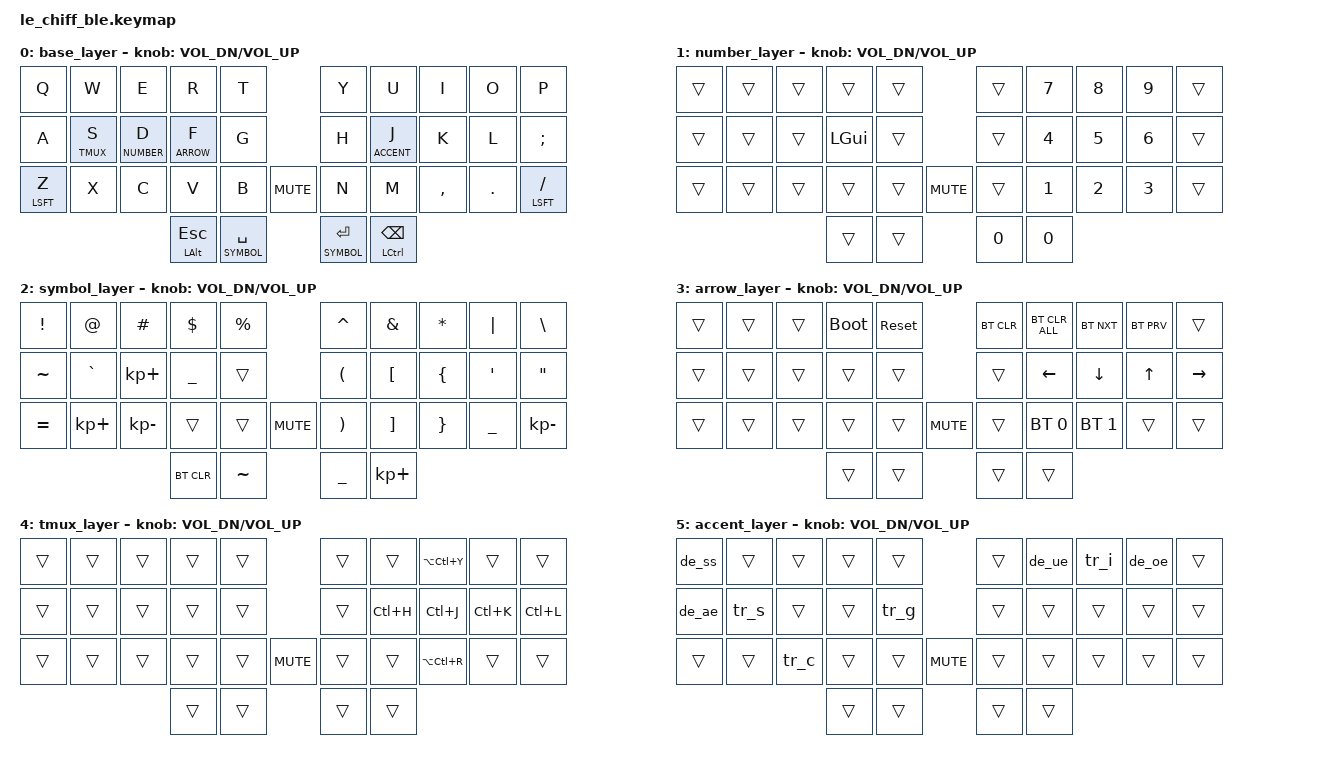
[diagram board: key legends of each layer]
/*
 * Copyright (c) 2021 @MangoIV
 *
 * SPDX-License-Identifier: MIT
 */

#include <behaviors.dtsi>
#include <dt-bindings/zmk/keys.h>
#include <dt-bindings/zmk/bt.h>
#include <dt-bindings/zmk/outputs.h>

&mt {
    quick_tap_ms = <200>;
};

&lt {
    quick_tap_ms = <200>;
};

/ {

    combos {
        compatible = "zmk,combos";
        combo_del {
            timeout-ms = <50>;
            key-positions = <15 16>;
            bindings = <&kp BSPC>;
        };
        combo_tab {
            timeout-ms = <50>;
            key-positions = <16 17>;
            bindings = <&kp TAB>;
        };
        
         combo_alt {
            timeout-ms = <50>;
            key-positions = <25 26>;
            bindings = <&kp LGUI>;
        };
        
    };

    macros {
        // German Characters
        de_ae: de_ae {
            label = "DE_AE";
            compatible = "zmk,behavior-macro";
            #binding-cells = <0>;
            wait-ms = <0>;
            tap-ms = <0>;
            bindings = <&kp RALT &kp U &kp N0 &kp N0 &kp E &kp N4 &kp RET>;  // ä (00E4)
        };
        de_oe: de_oe {
            label = "DE_OE";
            compatible = "zmk,behavior-macro";
            #binding-cells = <0>;
            wait-ms = <0>;
            tap-ms = <0>;
            bindings = <&kp RALT &kp U &kp N0 &kp N0 &kp F &kp N6 &kp RET>;  // ö (00F6)
        };
        de_ue: de_ue {
            label = "DE_UE";
            compatible = "zmk,behavior-macro";
            #binding-cells = <0>;
            wait-ms = <0>;
            tap-ms = <0>;
            bindings = <&kp RALT &kp U &kp N0 &kp N0 &kp F &kp C &kp RET>;  // ü (00FC)
        };
        de_ss: de_ss {
            label = "DE_SS";
            compatible = "zmk,behavior-macro";
            #binding-cells = <0>;
            wait-ms = <0>;
            tap-ms = <0>;
            bindings = <&kp RALT &kp U &kp N0 &kp N0 &kp D &kp F &kp RET>;  // ß (00DF)
        };

        // Turkish Characters
        tr_i: tr_i {
            label = "TR_I";
            compatible = "zmk,behavior-macro";
            #binding-cells = <0>;
            wait-ms = <0>;
            tap-ms = <0>;
            bindings = <&kp RALT &kp U &kp N0 &kp N1 &kp N3 &kp N1 &kp RET>;  // ı (0131)
        };
        tr_g: tr_g {
            label = "TR_G";
            compatible = "zmk,behavior-macro";
            #binding-cells = <0>;
            wait-ms = <0>;
            tap-ms = <0>;
            bindings = <&kp RALT &kp U &kp N0 &kp N1 &kp N1 &kp F &kp RET>;  // ğ (011F)
        };
        tr_s: tr_s {
            label = "TR_S";
            compatible = "zmk,behavior-macro";
            #binding-cells = <0>;
            wait-ms = <0>;
            tap-ms = <0>;
            bindings = <&kp RALT &kp U &kp N0 &kp N1 &kp N5 &kp F &kp RET>;  // ş (015F)
        };
        tr_c: tr_c {
            label = "TR_C";
            compatible = "zmk,behavior-macro";
            #binding-cells = <0>;
            wait-ms = <0>;
            tap-ms = <0>;
            bindings = <&kp RALT &kp U &kp N0 &kp N0 &kp E &kp N7 &kp RET>;  // ç (00E7)
        };
        tr_o: tr_o {
            label = "TR_O";
            compatible = "zmk,behavior-macro";
            #binding-cells = <0>;
            wait-ms = <0>;
            tap-ms = <0>;
            bindings = <&kp RALT &kp U &kp N0 &kp N0 &kp F &kp N6 &kp RET>;  // ö (00F6)
        };
    };

#define BASE 0
#define NUMBER 1
#define SYMBOL 2
#define ARROW 3
#define TMUX 4
#define ACCENT 5

	keymap {
                compatible = "zmk,keymap";
                
       		base_layer {
		bindings = <
		&kp Q &kp W &kp E &kp R &kp T 						        &kp Y &kp U  &kp I    &kp O   &kp P 
                &kp A &lt TMUX S &lt NUMBER D &lt ARROW F &kp G 	        	        &kp H &lt ACCENT J &kp K &kp L &kp SEMICOLON
		&mt LSFT Z &kp X &kp C &kp V &kp B &kp C_MUTE				                &kp N &kp M  &kp COMMA &kp DOT &mt LSFT SLASH
          			&mt LALT ESC &lt SYMBOL SPACE   			 &lt SYMBOL ENTER  &mt LCTRL BSPC 
		>;

			sensor-bindings = <&inc_dec_kp C_VOL_DN C_VOL_UP>;
		};

       		number_layer {
		bindings = <
              &trans    &trans    &trans    &trans    &trans                         &trans    &kp N7 &kp N8 &kp N9    &trans     
              &trans    &trans    &trans    &kp LGUI    &trans                         &trans    &kp N4 &kp N5 &kp N6    &trans 
              &trans    &trans    &trans    &trans    &trans  &kp C_MUTE                        &trans    &kp N1 &kp N2 &kp N3    &trans
                                            &trans    &trans                           &kp N0 &kp N0
		>;

			sensor-bindings = <&inc_dec_kp C_VOL_DN C_VOL_UP>;
		};
		
		symbol_layer {
		bindings = <
              &kp EXCL &kp AT    &kp HASH &kp DOLLAR &kp PERCENT                &kp CARET &kp AMPERSAND &kp ASTERISK  &kp PIPE &kp BACKSLASH
              &kp TILDE    &kp GRAVE    &kp KP_PLUS    &kp UNDER    &trans              &kp LPAR    &kp LBKT    &kp LBRC    &kp SQT    &kp DQT  
              &kp EQUAL    &kp KP_PLUS    &kp KP_MINUS    &trans    &trans &kp C_MUTE            &kp RPAR    &kp RBKT    &kp RBRC    &kp UNDER    &kp KP_MINUS  
                                               &bt BT_CLR   &kp TILDE            &kp UNDER    &kp KP_PLUS  
		>;

			sensor-bindings = <&inc_dec_kp C_VOL_DN C_VOL_UP>;
		};	
		
		arrow_layer {
		bindings = <
              &trans    &trans    &trans     &bootloader    &sys_reset                         &bt BT_CLR    &bt BT_CLR_ALL  &bt BT_NXT   &bt BT_PRV  &trans    
              &trans    &trans    &trans    &trans    &trans                         &trans    &kp LEFT  &kp DOWN    &kp UP  &kp RIGHT  
              &trans    &trans    &trans    &trans    &trans        &kp C_MUTE                &trans     &bt BT_SEL 0   &bt BT_SEL 1   &trans    &trans
                                  &trans    &trans                                  &trans    &trans  
		>;

			sensor-bindings = <&inc_dec_kp C_VOL_DN C_VOL_UP>;
		};	

		tmux_layer {
		bindings = <
              &trans    &trans    &trans    &trans    &trans                         &trans    &trans    &kp LA(LC(Y))    &trans    &trans     
              &trans    &trans    &trans    &trans    &trans                         &trans    &kp LC(H) &kp LC(J)    &kp LC(K)    &kp LC(L)
              &trans    &trans    &trans    &trans    &trans     &kp C_MUTE                    &trans    &trans    &kp LA(LC(R))    &trans    &trans 
                                   &trans     &trans                                  &trans    &trans  
		>;

			sensor-bindings = <&inc_dec_kp C_VOL_DN C_VOL_UP>;
		};	

		accent_layer {
		bindings = <
              &de_ss    &trans    &trans    &trans    &trans                         &trans    &de_ue    &tr_i    &de_oe    &trans     
              &de_ae    &tr_s    &trans    &trans    &tr_g                         &trans    &trans    &trans    &trans    &trans
              &trans    &trans    &tr_c    &trans    &trans     &kp C_MUTE          &trans    &trans    &trans    &trans    &trans 
                                   &trans     &trans                                  &trans    &trans  
		>;

			sensor-bindings = <&inc_dec_kp C_VOL_DN C_VOL_UP>;
		};	
	};
};
